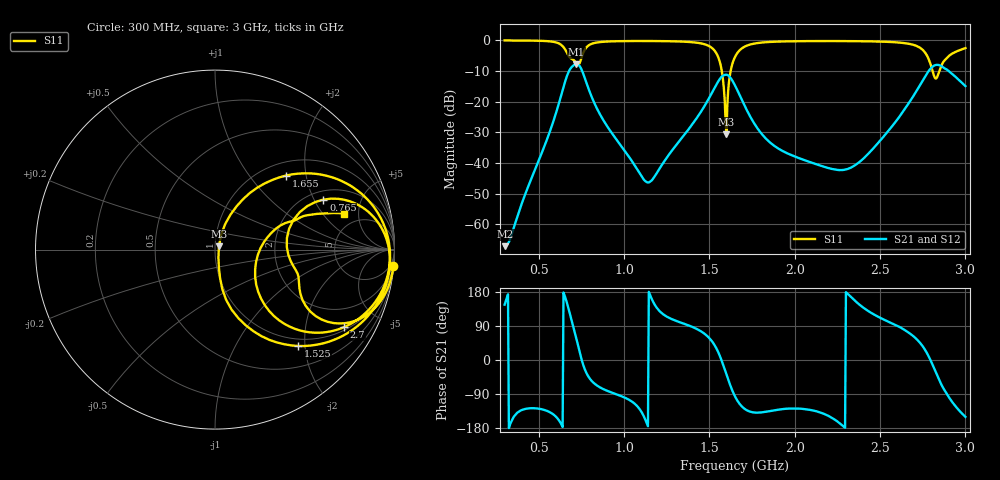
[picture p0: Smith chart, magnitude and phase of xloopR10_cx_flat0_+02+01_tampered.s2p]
! xloopR10_cx_flat0_+02+01_tampered, gap C 0.80 pF
! simulated by sim/fixtures_fdtd.py (S12 = S21, S22 not computed)
# HZ S RI R 50
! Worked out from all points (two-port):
!   541 points, 300 MHz to 3 GHz, reference 50 ohm
!   highest |S21| = -7.76 dB at 720 MHz (marker M1); lowest = -67.2 dB at 305 MHz (marker M2)
!   |S21| within 3 dB of the highest: 671.3 MHz to 760 MHz (88.7 MHz wide, 12.4 % of centre); 2.775 GHz to 2.919 GHz (143.6 MHz wide, 5.04 % of centre)
!   lowest |S11| = -30.6 dB at 1.6 GHz (marker M3), VSWR 1.06, Z = 52.2 + j2.02 ohm
!   |S11| at or under -10 dB: 1.572 GHz to 1.625 GHz (52.12 MHz wide, 3.26 % of centre); 2.808 GHz to 2.848 GHz (39.93 MHz wide, 1.41 % of centre)
!   |S22| runs from - to - dB; largest |S21 - S12| = 0
!   S11 on the Smith chart (normalised r, x): 300 MHz: 0, -21; 765 MHz: 2.38, +2.37; 1.525 GHz: 0.86, -1.86; 1.655 GHz: 1.26, +1.54; 2.7 GHz: 1.12, -3.25; 3 GHz: 3.72, +3.39
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3e8  0.994 -0.0939  -0.000367 0.000247  -0.000367 0.000247  0 0
3.05e8  0.9937 -0.0958  -0.000388 0.0002  -0.000388 0.0002  0 0
5.7e8  0.915 -0.2971  -0.0268 -0.0233  -0.0268 -0.0233  0 0
6.65e8  0.5294 -0.3436  -0.2286 0.1259  -0.2286 0.1259  0 0
7.2e8  0.4219 -0.0642  0.2203 0.3446  0.2203 0.3446  0 0
7.5e8  0.472 0.2086  0.3383 0.0187  0.3383 0.0187  0 0
7.65e8  0.6038 0.2785  0.2512 -0.0851  0.2512 -0.0851  0 0
8.5e8  0.9246 0.1261  0.0238 -0.0648  0.0238 -0.0648  0 0
1.115e9  0.9717 -0.1114  -0.00455 -0.00285  -0.00455 -0.00285  0 0
1.2e9  0.9614 -0.1663  -0.00508 0.00545  -0.00508 0.00545  0 0
1.525e9  0.4623 -0.537  0.1151 0.1071  0.1151 0.1071  0 0
1.565e9  0.1306 -0.3826  0.2411 0.0276  0.2411 0.0276  0 0
1.6e9  0.0221 0.0193  0.2179 -0.1684  0.2179 -0.1684  0 0
1.65e9  0.3564 0.4016  -0.0191 -0.183  -0.0191 -0.183  0 0
1.655e9  0.3946 0.4125  -0.0307 -0.1699  -0.0307 -0.1699  0 0
1.835e9  0.9186 0.1847  -0.0176 -0.0168  -0.0176 -0.0168  0 0
2.1e9  0.975 -0.0197  -0.00679 -0.00743  -0.00679 -0.00743  0 0
2.32e9  0.9651 -0.1297  -0.00805 0.00133  -0.00805 0.00133  0 0
2.55e9  0.906 -0.2731  -0.00627 0.0332  -0.00627 0.0332  0 0
2.7e9  0.7186 -0.4321  0.063 0.1134  0.063 0.1134  0 0
2.825e9  0.2288 -0.0685  0.3404 -0.2025  0.3404 -0.2025  0 0
3e9  0.7207 0.201  -0.1553 -0.0899  -0.1553 -0.0899  0 0
